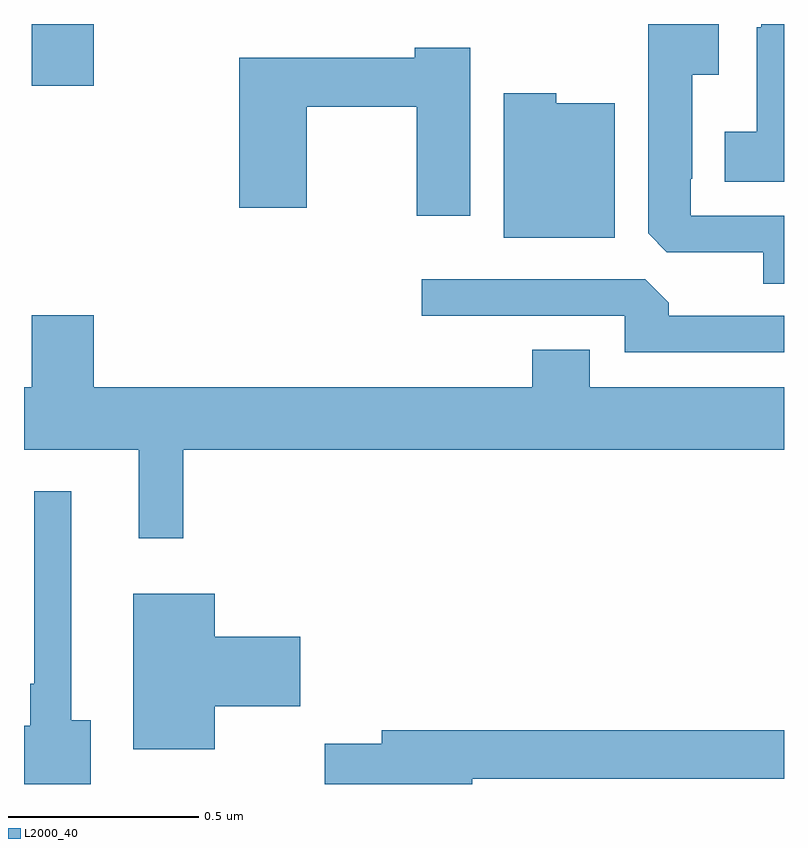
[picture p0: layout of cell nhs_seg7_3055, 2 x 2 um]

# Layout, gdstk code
import gdstk
lib = gdstk.Library(unit=1e-6, precision=1e-09)
def R(c, l, rs):  # rectangles x0, y0, x1, y1
    for r in rs: c.add(gdstk.rectangle(r[:2], r[2:], *l))
def P(c, l, *ps):  # polygons
    for p in ps: c.add(gdstk.Polygon(p, *l))
L2000_40 = (2000, 40)

nhs_seg7_3055 = lib.new_cell('nhs_seg7_3055')
R(nhs_seg7_3055, L2000_40, [(153.02,1070.838,153.184,1071)])
P(nhs_seg7_3055, L2000_40, [(155,1070.496),(154.755,1070.496),(154.755,1070.593),(154.759,1070.593),(154.759,1070.867),(154.828,1070.867),(154.828,1071),(154.643,1071),(154.643,1070.449),(154.692,1070.4),(154.946,1070.4),(154.946,1070.317),(155,1070.317)],
  [(155,1071),(154.94,1071),(154.94,1070.991),(154.928,1070.991),(154.928,1070.716),(154.844,1070.716),(154.844,1070.585),(155,1070.585)],
  [(154.174,1070.938),(154.028,1070.938),(154.028,1070.911),(153.566,1070.911),(153.566,1070.517),(153.744,1070.517),(153.744,1070.782),(154.033,1070.782),(154.033,1070.496),(154.174,1070.496)],
  [(154.555,1070.791),(154.401,1070.791),(154.401,1070.818),(154.262,1070.818),(154.262,1070.438),(154.555,1070.438)],
  [(155,1070.232),(154.697,1070.232),(154.697,1070.266),(154.635,1070.328),(154.047,1070.328),(154.047,1070.232),(154.581,1070.232),(154.581,1070.136),(155,1070.136)],
  [(153.419,1069.88),(155,1069.88),(155,1070.044),(154.489,1070.044),(154.489,1070.143),(154.337,1070.143),(154.337,1070.044),(153.184,1070.044),(153.184,1070.233),(153.02,1070.233),(153.02,1070.044),(153,1070.044),(153,1069.88),(153.302,1069.88),(153.302,1069.647),(153.419,1069.647)],
  [(153.175,1069.168),(153.124,1069.168),(153.124,1069.771),(153.027,1069.771),(153.027,1069.264),(153.017,1069.264),(153.017,1069.153),(153,1069.153),(153,1069),(153.175,1069)],
  [(153.502,1069.205),(153.727,1069.205),(153.727,1069.388),(153.502,1069.388),(153.502,1069.501),(153.287,1069.501),(153.287,1069.091),(153.502,1069.091)],
  [(154.18,1069.014),(155,1069.014),(155,1069.142),(153.941,1069.142),(153.941,1069.106),(153.792,1069.106),(153.792,1069),(154.18,1069)])

lib.write_gds('nhs_seg7_3055.gds')
